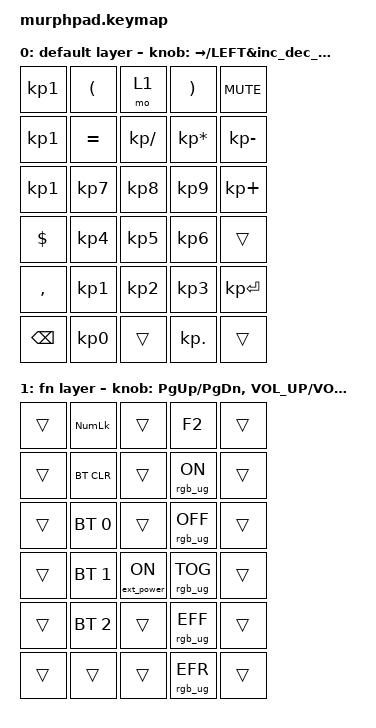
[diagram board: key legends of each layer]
/*
 * Copyright (c) 2021 The ZMK Contributors
 *
 * SPDX-License-Identifier: MIT
 */

#include <behaviors.dtsi>
#include <dt-bindings/zmk/keys.h>
#include <dt-bindings/zmk/bt.h>
#include <dt-bindings/zmk/rgb.h>
#include <dt-bindings/zmk/ext_power.h>

#define TIMEOUT 300

&encoder_1 {
    status = "okay";
};

&encoder_2 {
    status = "okay";
};

/ {
    combos {
        compatible = "zmk,combos";
        combo_btclr {
            timeout-ms = <TIMEOUT>;
            key-positions = <1 6>;
            bindings = <&bt BT_CLR>;
        };
        combo_reset {
            timeout-ms = <TIMEOUT>;
            key-positions = <1 3>;
            bindings = <&sys_reset>;
        };
        combo_bootloader {
            timeout-ms = <TIMEOUT>;
            key-positions = <1 2>;
            bindings = <&bootloader>;
        };
        combo_bt_nxt {
            timeout-ms = <TIMEOUT>;
            key-positions = <1 4>;
            bindings = <&bt BT_NXT>;
        };
    };

    sensors {
        compatible = "zmk,keymap-sensors";
        sensors = <&encoder_1 &encoder_2>;
    };


    keymap0: keymap {
        compatible = "zmk,keymap";

        default_layer {
            label = "default layer";
            bindings = <
                &kp KP_N1  &kp LEFT_PARENTHESIS  &mo 1             &kp RIGHT_PARENTHESIS  &kp C_MUTE
                &kp KP_N1  &kp EQUAL             &kp KP_DIVIDE     &kp KP_MULTIPLY        &kp KP_MINUS
                &kp KP_N1  &kp KP_N7             &kp KP_N8         &kp KP_N9              &kp KP_PLUS
                &kp DLLR   &kp KP_N4             &kp KP_N5         &kp KP_N6              &trans
                &kp COMMA  &kp KP_N1             &kp KP_N2         &kp KP_N3              &kp KP_ENTER
                &kp BSPC   &kp KP_N0             &trans            &kp KP_DOT             &trans
            >;
            sensor-bindings = <&inc_dec_kp RIGHT LEFT&inc_dec_kp RIGHT_ARROW LEFT_ARROW>;

        };

        fn_layer {
            label = "fn layer";
            bindings = <
                &trans      &kp KP_NUMLOCK  &trans            &kp F2           &trans
                &trans      &bt BT_CLR      &trans            &rgb_ug RGB_ON   &trans
                &trans      &bt BT_SEL 0    &trans            &rgb_ug RGB_OFF  &trans
                &trans      &bt BT_SEL 1    &ext_power EP_ON  &rgb_ug RGB_TOG  &trans
                &trans      &bt BT_SEL 2    &trans            &rgb_ug RGB_EFF  &trans
                &trans      &trans          &trans            &rgb_ug RGB_EFR  &trans
            >;
            sensor-bindings = <&inc_dec_kp PG_UP PG_DN &inc_dec_kp C_VOL_UP C_VOL_DN>;

        };
    };
};
